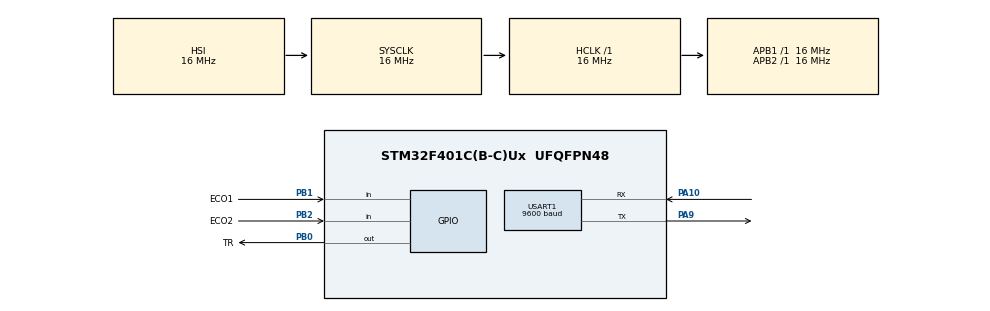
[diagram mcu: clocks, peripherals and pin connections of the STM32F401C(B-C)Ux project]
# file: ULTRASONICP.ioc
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Mcu.Family=STM32F4
Mcu.Name=STM32F401C(B-C)Ux
Mcu.Package=UFQFPN48
NVIC.PriorityGroup=NVIC_PRIORITYGROUP_4
PA10.Mode=Asynchronous
PA10.Signal=USART1_RX
PA9.Mode=Asynchronous
PA9.Signal=USART1_TX
PB0.GPIO_Label=TR
PB0.Signal=GPIO_Output
PB1.GPIO_Label=ECO1
PB1.Signal=GPIO_Input
PB2.GPIO_Label=ECO2
PB2.Signal=GPIO_Input
ProjectManager.HeapSize=0x200
ProjectManager.StackSize=0x400
ProjectManager.TargetToolchain=STM32CubeIDE
RCC.AHBFreq_Value=16000000
RCC.APB1Freq_Value=16000000
RCC.APB2Freq_Value=16000000
RCC.CortexFreq_Value=16000000
RCC.HSE_VALUE=25000000
RCC.HSI_VALUE=16000000
RCC.LSE_VALUE=32768
RCC.SYSCLKFreq_VALUE=16000000
RCC.VCOOutputFreq_Value=192000000
USART1.BaudRate=9600
USART1.VirtualMode=VM_ASYNC
board=custom

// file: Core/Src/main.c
/* USER CODE BEGIN Header */
/**
  ******************************************************************************
  * @file           : main.c
  * @brief          : Main program body
  ******************************************************************************
  * @attention
  *
  * Copyright (c) 2023 STMicroelectronics.
  * All rights reserved.
  *
  * This software is licensed under terms that can be found in the LICENSE file
  * in the root directory of this software component.
  * If no LICENSE file comes with this software, it is provided AS-IS.
  *
  ******************************************************************************
  */
/* USER CODE END Header */
#include "main.h"
/* USER CODE BEGIN Includes */
#include "SFR04.h"
#include "uart.h"

#include "stdio.h"
#include "string.h"

/* USER CODE END Includes */

UART_HandleTypeDef huart1;

/* USER CODE BEGIN PV */
float distancia1,distancia2;

char texto[50];

/* USER CODE END PV */

void SystemClock_Config(void);
static void MX_GPIO_Init(void);
static void MX_USART1_UART_Init(void);

int main(void)
{

  /* MCU Configuration--------------------------------------------------------*/

  /* Reset of all peripherals, Initializes the Flash interface and the Systick. */
  HAL_Init();

  /* USER CODE BEGIN Init */
   delay_us_dwt_init();
  /* USER CODE END Init */

  /* Configure the system clock */
  SystemClock_Config();

  /* Initialize all configured peripherals */
  MX_GPIO_Init();
  MX_USART1_UART_Init();
  /* USER CODE BEGIN 2 */

    uartx_write_text(&huart1, "INICIANDO\r\n");

  /* USER CODE END 2 */

  /* Infinite loop */
  /* USER CODE BEGIN WHILE */
  while (1)
  {
	  distancia1=SFR04_READ(ECO1_GPIO_Port, ECO1_Pin, 60);
	    sprintf(texto,"Distancia1=%.2f\r\n",distancia1);
	    uartx_write_text(&huart1, texto);

	    distancia2=SFR04_READ(ECO2_GPIO_Port, ECO2_Pin, 60);
	   	    sprintf(texto,"Distancia2=%.2f\r\n",distancia2);
	   	    uartx_write_text(&huart1, texto);

	    HAL_Delay(500);

     /* USER CODE END WHILE */

  }
}

void SystemClock_Config(void)
{
  RCC_OscInitTypeDef RCC_OscInitStruct = {0};
  RCC_ClkInitTypeDef RCC_ClkInitStruct = {0};

  /** Configure the main internal regulator output voltage
  */
  __HAL_RCC_PWR_CLK_ENABLE();
  __HAL_PWR_VOLTAGESCALING_CONFIG(PWR_REGULATOR_VOLTAGE_SCALE2);

  /** Initializes the RCC Oscillators according to the specified parameters
  * in the RCC_OscInitTypeDef structure.
  */
  RCC_OscInitStruct.OscillatorType = RCC_OSCILLATORTYPE_HSI;
  RCC_OscInitStruct.HSIState = RCC_HSI_ON;
  RCC_OscInitStruct.HSICalibrationValue = RCC_HSICALIBRATION_DEFAULT;
  RCC_OscInitStruct.PLL.PLLState = RCC_PLL_NONE;
  if (HAL_RCC_OscConfig(&RCC_OscInitStruct) != HAL_OK)
  {
    Error_Handler();
  }

  /** Initializes the CPU, AHB and APB buses clocks
  */
  RCC_ClkInitStruct.ClockType = RCC_CLOCKTYPE_HCLK|RCC_CLOCKTYPE_SYSCLK
                              |RCC_CLOCKTYPE_PCLK1|RCC_CLOCKTYPE_PCLK2;
  RCC_ClkInitStruct.SYSCLKSource = RCC_SYSCLKSOURCE_HSI;
  RCC_ClkInitStruct.AHBCLKDivider = RCC_SYSCLK_DIV1;
  RCC_ClkInitStruct.APB1CLKDivider = RCC_HCLK_DIV1;
  RCC_ClkInitStruct.APB2CLKDivider = RCC_HCLK_DIV1;

  if (HAL_RCC_ClockConfig(&RCC_ClkInitStruct, FLASH_LATENCY_0) != HAL_OK)
  {
    Error_Handler();
  }
}

static void MX_USART1_UART_Init(void)
{

  huart1.Instance = USART1;
  huart1.Init.BaudRate = 9600;
  huart1.Init.WordLength = UART_WORDLENGTH_8B;
  huart1.Init.StopBits = UART_STOPBITS_1;
  huart1.Init.Parity = UART_PARITY_NONE;
  huart1.Init.Mode = UART_MODE_TX_RX;
  huart1.Init.HwFlowCtl = UART_HWCONTROL_NONE;
  huart1.Init.OverSampling = UART_OVERSAMPLING_16;
  if (HAL_UART_Init(&huart1) != HAL_OK)
  {
    Error_Handler();
  }

}

static void MX_GPIO_Init(void)
{
  GPIO_InitTypeDef GPIO_InitStruct = {0};

  /* GPIO Ports Clock Enable */
  __HAL_RCC_GPIOB_CLK_ENABLE();
  __HAL_RCC_GPIOA_CLK_ENABLE();

  /*Configure GPIO pin Output Level */
  HAL_GPIO_WritePin(TR_GPIO_Port, TR_Pin, GPIO_PIN_RESET);

  /*Configure GPIO pin : TR_Pin */
  GPIO_InitStruct.Pin = TR_Pin;
  GPIO_InitStruct.Mode = GPIO_MODE_OUTPUT_PP;
  GPIO_InitStruct.Pull = GPIO_NOPULL;
  GPIO_InitStruct.Speed = GPIO_SPEED_FREQ_LOW;
  HAL_GPIO_Init(TR_GPIO_Port, &GPIO_InitStruct);

  /*Configure GPIO pins : ECO1_Pin ECO2_Pin */
  GPIO_InitStruct.Pin = ECO1_Pin|ECO2_Pin;
  GPIO_InitStruct.Mode = GPIO_MODE_INPUT;
  GPIO_InitStruct.Pull = GPIO_NOPULL;
  HAL_GPIO_Init(GPIOB, &GPIO_InitStruct);

}

void Error_Handler(void)
{
  __disable_irq();
  while (1)
  {
  }
}
